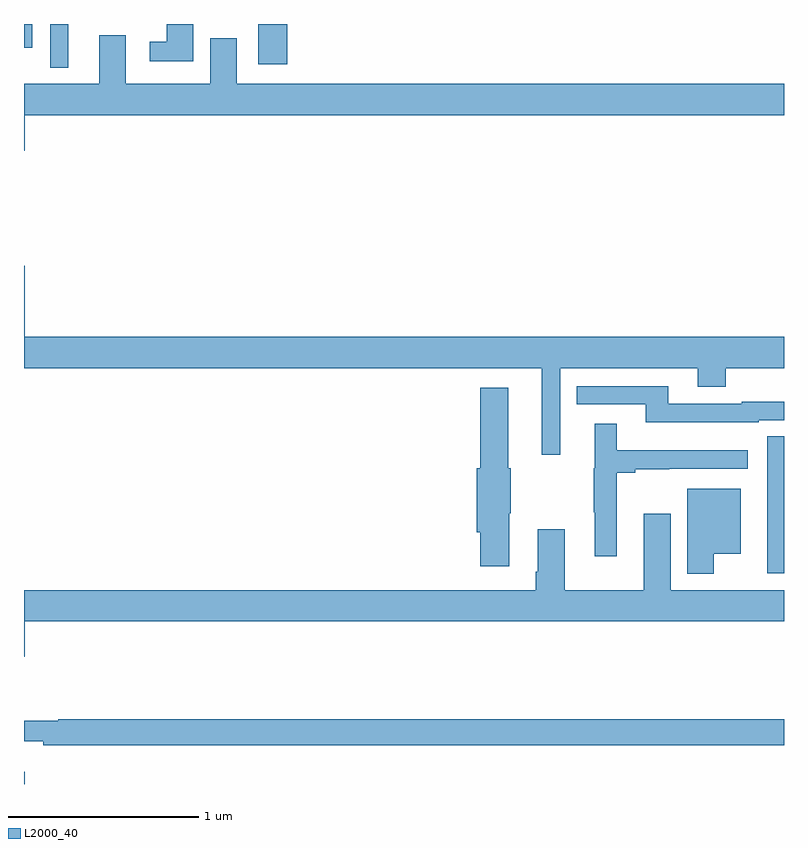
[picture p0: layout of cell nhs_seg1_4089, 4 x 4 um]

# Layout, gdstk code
import gdstk
lib = gdstk.Library(unit=1e-6, precision=1e-09)
def R(c, l, rs):  # rectangles x0, y0, x1, y1
    for r in rs: c.add(gdstk.rectangle(r[:2], r[2:], *l))
def P(c, l, *ps):  # polygons
    for p in ps: c.add(gdstk.Polygon(p, *l))
L2000_40 = (2000, 40)

nhs_seg1_4089 = lib.new_cell('nhs_seg1_4089')
R(nhs_seg1_4089, L2000_40, [(333,560.199,333.004,560.263), (333.138,563.97,333.234,564.199), (334.232,563.988,334.385,564.199), (333,564.074,333.043,564.199)])
P(nhs_seg1_4089, L2000_40, [(333.892,564.199),(333.752,564.199),(333.752,564.106),(333.663,564.106),(333.663,564.002),(333.892,564.002)],
  [(333.004,563.72),(337,563.72),(337,563.884),(334.12,563.884),(334.12,564.124),(333.98,564.124),(333.98,563.884),(333.535,563.884),(333.535,564.139),(333.395,564.139),(333.395,563.884),(333,563.884),(333,563.532),(333.004,563.532)],
  [(335.823,562.388),(336.545,562.388),(336.545,562.289),(336.693,562.289),(336.693,562.388),(337,562.388),(337,562.552),(333.004,562.552),(333.004,562.927),(333,562.927),(333,562.388),(335.726,562.388),(335.726,561.933),(335.823,561.933)],
  [(336.867,562.113),(337,562.113),(337,562.21),(336.777,562.21),(336.777,562.2),(336.391,562.2),(336.391,562.293),(335.908,562.293),(335.908,562.197),(336.272,562.197),(336.272,562.103),(336.867,562.103)],
  [(335.554,561.625),(335.562,561.625),(335.562,561.861),(335.548,561.861),(335.548,562.285),(335.402,562.285),(335.402,561.861),(335.384,561.861),(335.384,561.525),(335.402,561.525),(335.402,561.345),(335.554,561.345)],
  [(336.121,561.838),(336.217,561.838),(336.217,561.856),(336.395,561.856),(336.395,561.858),(336.808,561.858),(336.808,561.955),(336.121,561.955),(336.121,562.096),(336.005,562.096),(336.005,561.861),(335.998,561.861),(335.998,561.628),(336.005,561.628),(336.005,561.399),(336.121,561.399)],
  [(337,562.028),(336.912,562.028),(336.912,561.75),(336.911,561.75),(336.911,561.308),(337,561.308)],
  [(336.631,561.41),(336.772,561.41),(336.772,561.754),(336.491,561.754),(336.491,561.305),(336.631,561.305)],
  [(333.004,561.056),(337,561.056),(337,561.22),(336.403,561.22),(336.403,561.622),(336.263,561.622),(336.263,561.22),(335.845,561.22),(335.845,561.541),(335.705,561.541),(335.705,561.316),(335.693,561.316),(335.693,561.22),(333,561.22),(333,560.868),(333.004,560.868)],
  [(337,560.54),(333.179,560.54),(333.179,560.533),(333,560.533),(333,560.423),(333.1,560.423),(333.1,560.404),(337,560.404)])

lib.write_gds('nhs_seg1_4089.gds')
